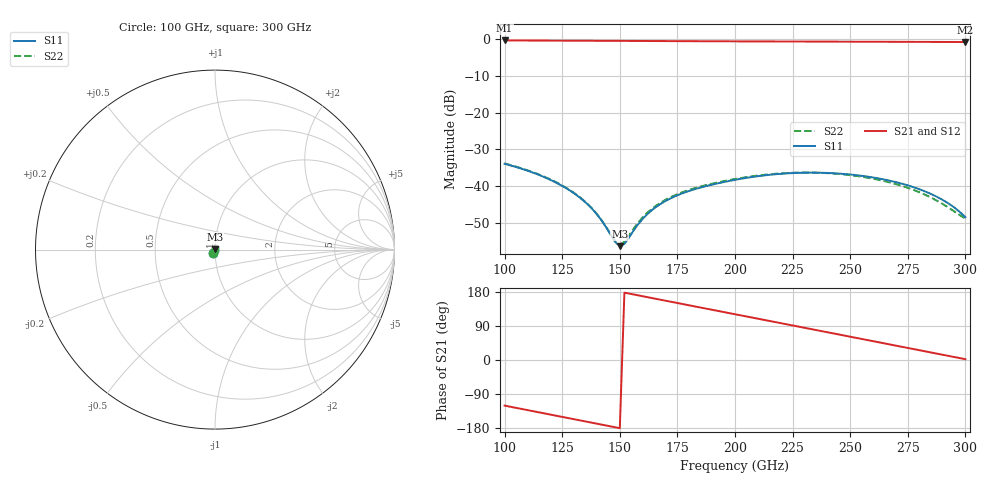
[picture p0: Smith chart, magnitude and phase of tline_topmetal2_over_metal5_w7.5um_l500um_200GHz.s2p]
#  GHZ S DB R 50
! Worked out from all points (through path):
!   101 points, 100 GHz to 300 GHz, reference 50 ohm
!   highest |S21| = -0.48 dB at 100 GHz (marker M1); lowest = -0.9 dB at 300 GHz (marker M2)
!   group delay of S21, straight-line fit = 3.3 ps
!   lowest |S11| = -56.2 dB at 150 GHz (marker M3), VSWR 1.00, Z = 50 + j0.152 ohm
!   |S11| at or under -10 dB: start of sweep to end of sweep
!   |S22| runs from -55.7 to -33.8 dB; largest |S21 - S12| = 1.6e-14
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100  -33.88 -124.5  -0.48 -120.3  -0.48 -120.3  -33.78 -124.7
110  -35.75 -140.4  -0.50 -132.3  -0.50 -132.3  -35.65 -140.6
120  -38.26 -157.1  -0.52 -144.2  -0.52 -144.2  -38.14 -157.4
128  -40.98 -171.9  -0.54 -153.7  -0.54 -153.7  -40.87 -172.2
134  -43.72 175.3  -0.55 -160.9  -0.55 -160.9  -43.61 174.9
140  -47.51 158.4  -0.57 -168.0  -0.57 -168.0  -47.42 157.6
148  -55.07 106.4  -0.59 -177.5  -0.59 -177.5  -54.84 103.8
150  -56.18 78.7  -0.59 -179.9  -0.59 -179.9  -55.74 76.2
152  -55.56 50.2  -0.60 177.7  -0.60 177.7  -55.01 48.7
160  -48.74 -5.1  -0.62 168.2  -0.62 168.2  -48.34 -4.7
168  -44.62 -26.5  -0.64 158.7  -0.64 158.7  -44.29 -26.1
180  -41.25 -47.7  -0.67 144.4  -0.67 144.4  -40.96 -47.3
200  -38.22 -75.1  -0.72 120.8  -0.72 120.8  -38.00 -74.8
210  -37.23 -88.8  -0.74 108.9  -0.74 108.9  -37.06 -88.6
218  -36.68 -100.3  -0.75 99.5  -0.75 99.5  -36.55 -100.3
234  -36.27 -124.4  -0.78 80.5  -0.78 80.5  -36.26 -124.9
250  -36.77 -149.2  -0.81 61.5  -0.81 61.5  -36.95 -150.6
268  -38.56 -177.7  -0.84 40.1  -0.84 40.1  -39.06 178.3
278  -40.31 165.9  -0.86 28.2  -0.86 28.2  -41.07 158.6
286  -42.31 151.9  -0.87 18.7  -0.87 18.7  -43.31 139.9
294  -45.17 136.2  -0.89 9.2  -0.89 9.2  -46.28 114.6
300  -48.32 121.4  -0.90 2.1  -0.90 2.1  -48.73 86.0
